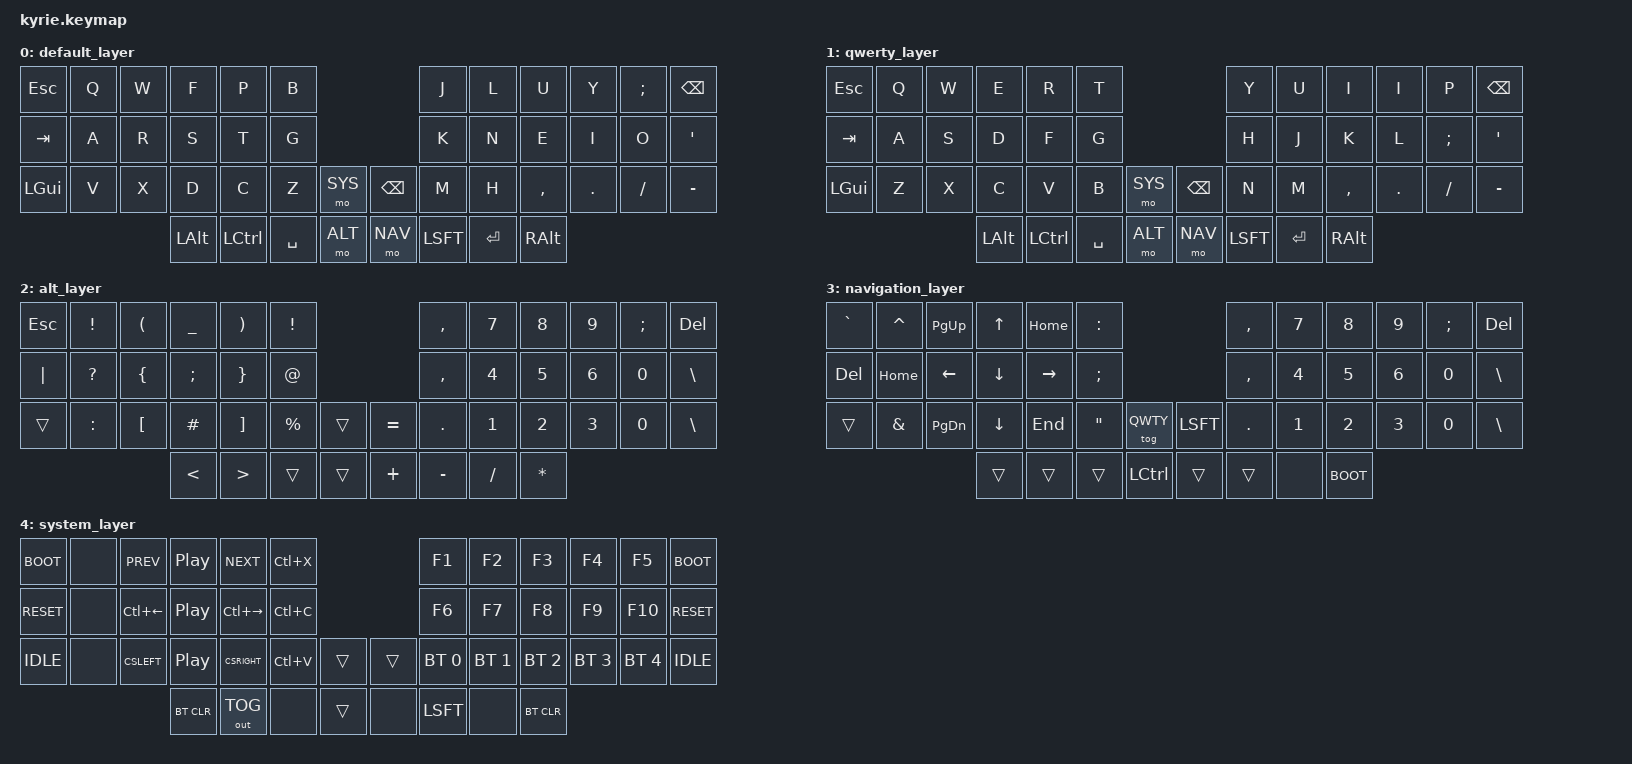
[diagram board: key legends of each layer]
/*
 * Copyright (c) 2022 The ZMK Contributors
 *
 * SPDX-License-Identifier: MIT
 */

#include <behaviors.dtsi>
#include <dt-bindings/zmk/keys.h>
#include <dt-bindings/zmk/bt.h>
//Check if necessary
#include <dt-bindings/zmk/outputs.h>
#include "customkeycodes.h"

#define CLMK 0
#define QWTY 1
#define ALT 2
#define NAV 3
#define SYS 4

/ {
    keymap {
        compatible = "zmk,keymap";

        default_layer {
            bindings = <
                &kp ESC   &kp Q    &kp W    &kp F    &kp P     &kp B    						  &kp J    &kp L    &kp U     &kp Y    &kp SEMI  &kp BSPC
                &kp TAB   &kp A    &kp R    &kp S    &kp T     &kp G						      &kp K    &kp N    &kp E     &kp I    &kp O     &kp SQT
				&kp LGUI  &kp V    &kp X    &kp D    &kp C     &kp Z      &mo SYS	    &kp BSPC  &kp M    &kp H    &kp COMMA &kp DOT  &kp FSLH  &kp MINUS
											&kp LALT &kp LCTRL &kp SPACE  &mo ALT	    &mo NAV   &kp LSFT &kp RET  &kp RALT
            >;
        };
		
		qwerty_layer {
            bindings = <
                &kp ESC   &kp Q    &kp W    &kp E    &kp R     &kp T    						  &kp Y    &kp U    &kp I     &kp I    &kp P    &kp BSPC
                &kp TAB   &kp A    &kp S    &kp D    &kp F     &kp G						      &kp H    &kp J    &kp K     &kp L    &kp SEMI &kp SQT
				&kp LGUI  &kp Z    &kp X    &kp C    &kp V     &kp B      &mo SYS	    &kp BSPC  &kp N    &kp M    &kp COMMA &kp DOT  &kp FSLH &kp MINUS
											&kp LALT &kp LCTRL &kp SPACE  &mo ALT	    &mo NAV   &kp LSFT &kp RET  &kp RALT
            >;
        };
		
		alt_layer {
			bindings = <
				&kp ESC   &kp EXCL   &kp LPAR   &kp UNDER  &kp RPAR  &kp EXCL			   	        &kp COMMA &kp N7    &kp N8    &kp N9    &kp SEMI  &kp DEL
				&kp PIPE  &kp QMARK  &kp LBRC   &kp SEMI   &kp RBRC  &kp AT					        &kp COMMA &kp N4    &kp N5    &kp N6    &kp N0    &kp BSLH
				&trans    &kp COLON  &kp LBKT   &kp HASH   &kp RBKT  &kp PRCNT &trans     &kp EQUAL &kp DOT   &kp N1    &kp N2    &kp N3    &kp N0    &kp BSLH
												&kp LT     &kp GT    &trans    &trans     &kp PLUS  &kp MINUS &kp FSLH  &kp STAR
			>;
		};
		
		navigation_layer {
			bindings = <
				&kp GRAVE &kp CARET &kp PG_UP &kp UP   &kp HOME  &kp COLON					     &kp COMMA &kp N7    &kp N8    &kp N9    &kp SEMI  &kp DEL
				&kp DEL   &kp HOME  &kp LEFT  &kp DOWN &kp RIGHT &kp SEMI 					     &kp COMMA &kp N4    &kp N5    &kp N6    &kp N0    &kp BSLH
				&trans    &kp AMPS  &kp PG_DN &kp DOWN &kp END   &kp DQT   &tog QWTY    &kp LSFT &kp DOT   &kp N1    &kp N2    &kp N3    &kp N0    &kp BSLH
											  &trans   &trans    &trans    &kp LCTRL    &trans   &trans    &none     &BOOT
			>;
		}; 

		system_layer {
			bindings = <
				&BOOT   &none   &kp C_PREV	 &kp C_PP   &kp C_NEXT    &kp LC(X)				          &kp F1     &kp F2     &kp F3     &kp F4    &kp F5     &BOOT
				&RESET  &none   &kp LC(LEFT) &kp C_PP   &kp LC(RIGHT) &kp LC(C)			        	  &kp F6     &kp F7     &kp F8     &kp F9    &kp F10    &RESET
				&IDLE   &none   &kp CSLEFT   &kp C_PP   &kp CSRIGHT   &kp LC(V)  &trans       &trans  &bt SEL 0  &bt SEL 1  &bt SEL 2  &bt SEL 3 &bt SEL 4  &IDLE
										     &bt BT_CLR &out TOG      &none      &trans       &none   &kp LSFT   &none      &bt BT_CLR
			>;
		};
    };
};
